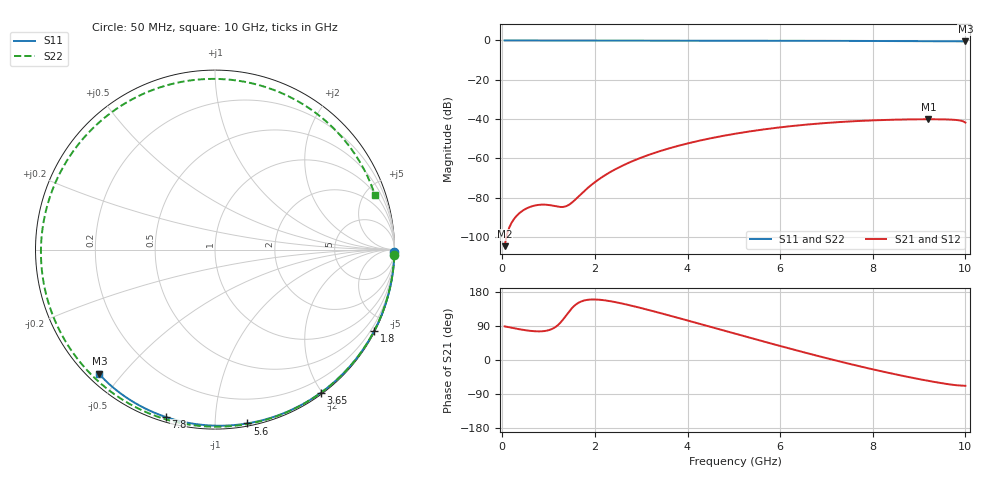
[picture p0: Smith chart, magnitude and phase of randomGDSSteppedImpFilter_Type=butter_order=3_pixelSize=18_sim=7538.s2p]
! freq	dB(S11)	phase(S11)	dB(S12)	phase(S12)
!  dB(S21)	phase(S21)	dB(S22)	phase(S22)
!S-par simulation data
#  GHz  S  DB  R 50
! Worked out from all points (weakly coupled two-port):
!   200 points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, 50 MHz to 10 GHz, reference 50 ohm
!   highest |S21| = -40.06 dB at 9.2 GHz (marker M1); lowest = -104.6 dB at 50 MHz (marker M2)
!   lowest |S11| = -0.5 dB at 10 GHz (marker M3), VSWR 35.26, Z = 1.69 - j21.8 ohm
!   |S11| at or under -10 dB: nowhere
!   |S22| runs from -0.5 to 0.0 dB; largest |S21 - S12| = 0
!   S11 on the Smith chart (normalised r, x): 50 MHz: open; 1.8 GHz: 0.04, -4.17; 3.65 GHz: 0.02, -1.99; 5.6 GHz: 0.02, -1.20; 7.8 GHz: 0.02, -0.75; 10 GHz: 0.03, -0.44
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0.05  -0.00 -0.8  -104.60 88.8  -104.60 88.8  -0.00 -1.8
0.8  -0.02 -12.1  -83.57 75.5  -83.57 75.5  -0.04 -28.7
1.6  -0.03 -24.0  -80.38 147.4  -80.38 147.4  -0.07 -56.7
1.75  -0.03 -26.2  -76.99 156.4  -76.99 156.4  -0.08 -61.8
1.8  -0.03 -27.0  -75.92 157.9  -75.92 157.9  -0.08 -63.5
2.1  -0.04 -31.4  -70.35 159.0  -70.35 159.0  -0.09 -73.6
2.45  -0.05 -36.4  -65.38 152.5  -65.38 152.5  -0.11 -85.2
2.9  -0.06 -42.9  -60.50 140.0  -60.50 140.0  -0.13 -99.8
3.4  -0.07 -49.9  -56.31 124.2  -56.31 124.2  -0.15 -115.7
3.65  -0.07 -53.4  -54.55 116.0  -54.55 116.0  -0.16 -123.5
4.4  -0.09 -63.7  -50.23 90.8  -50.23 90.8  -0.20 -146.8
5.05  -0.11 -72.3  -47.34 68.8  -47.34 68.8  -0.24 -167.1
5.6  -0.13 -79.4  -45.38 50.3  -45.38 50.3  -0.28 175.4
6.15  -0.15 -86.4  -43.78 32.0  -43.78 32.0  -0.32 157.4
6.7  -0.18 -93.2  -42.51 14.3  -42.51 14.3  -0.35 138.9
7.3  -0.21 -100.5  -41.46 -4.3  -41.46 -4.3  -0.39 117.8
7.8  -0.25 -106.4  -40.83 -19.0  -40.83 -19.0  -0.42 99.6
8.35  -0.29 -112.9  -40.36 -34.2  -40.36 -34.2  -0.45 79.2
8.75  -0.32 -117.6  -40.15 -44.4  -40.15 -44.4  -0.47 64.2
9.2  -0.36 -122.8  -40.06 -55.0  -40.06 -55.0  -0.49 47.5
9.8  -0.44 -130.2  -40.43 -66.5  -40.43 -66.5  -0.51 25.9
10  -0.49 -132.9  -41.74 -68.1  -41.74 -68.1  -0.52 19.0
